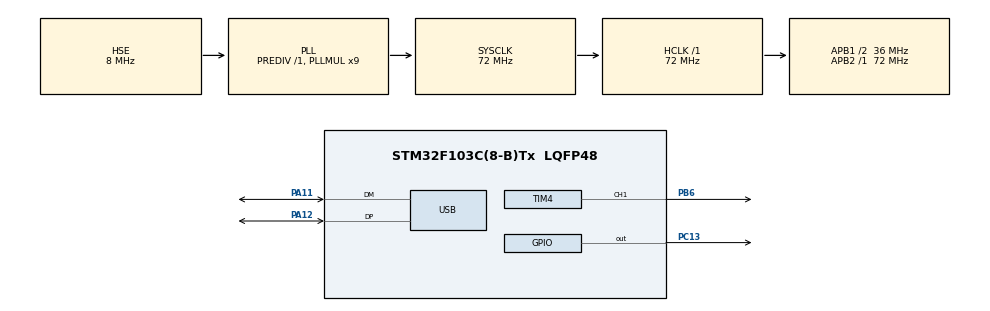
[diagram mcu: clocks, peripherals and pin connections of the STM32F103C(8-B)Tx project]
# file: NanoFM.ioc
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Dma.Request0=TIM2_UP
Dma.TIM2_UP.0.Direction=DMA_MEMORY_TO_PERIPH
Dma.TIM2_UP.0.Instance=DMA1_Channel2
Dma.TIM2_UP.0.MemDataAlignment=DMA_MDATAALIGN_HALFWORD
Dma.TIM2_UP.0.MemInc=DMA_MINC_ENABLE
Dma.TIM2_UP.0.Mode=DMA_CIRCULAR
Dma.TIM2_UP.0.PeriphDataAlignment=DMA_PDATAALIGN_HALFWORD
Dma.TIM2_UP.0.PeriphInc=DMA_PINC_DISABLE
Dma.TIM2_UP.0.Priority=DMA_PRIORITY_HIGH
Mcu.Family=STM32F1
Mcu.Name=STM32F103C(8-B)Tx
Mcu.Package=LQFP48
NVIC.DMA1_Channel2_IRQn=true\:7\:0\:true\:false\:true\:false\:true\:true
NVIC.PriorityGroup=NVIC_PRIORITYGROUP_4
NVIC.USB_HP_CAN1_TX_IRQn=true\:6\:0\:true\:false\:true\:true\:true\:true
NVIC.USB_LP_CAN1_RX0_IRQn=true\:6\:0\:true\:false\:true\:true\:true\:true
PA11.Mode=Device
PA11.Signal=USB_DM
PA12.Mode=Device
PA12.Signal=USB_DP
PA13.Mode=Serial_Wire
PA13.Signal=SYS_JTMS-SWDIO
PA14.Mode=Serial_Wire
PA14.Signal=SYS_JTCK-SWCLK
PB6.Signal=S_TIM4_CH1
PC13-TAMPER-RTC.PinState=GPIO_PIN_RESET
PC13-TAMPER-RTC.Signal=GPIO_Output
PD0-OSC_IN.Mode=HSE-External-Oscillator
PD0-OSC_IN.Signal=RCC_OSC_IN
PD1-OSC_OUT.Mode=HSE-External-Oscillator
PD1-OSC_OUT.Signal=RCC_OSC_OUT
ProjectManager.HeapSize=0x200
ProjectManager.StackSize=0x400
ProjectManager.TargetToolchain=CMake
RCC.AHBFreq_Value=72000000
RCC.APB1CLKDivider=RCC_HCLK_DIV2
RCC.APB1Freq_Value=36000000
RCC.APB1TimFreq_Value=72000000
RCC.APB2Freq_Value=72000000
RCC.APB2TimFreq_Value=72000000
RCC.HCLKFreq_Value=72000000
RCC.PLLMUL=RCC_PLL_MUL9
RCC.SYSCLKFreq_VALUE=72000000
RCC.SYSCLKSource=RCC_SYSCLKSOURCE_PLLCLK
RCC.USBFreq_Value=48000000
RCC.USBPrescaler=RCC_USBCLKSOURCE_PLL_DIV1_5
SH.S_TIM4_CH1.0=TIM4_CH1,PWM Generation1 CH1
TIM2.Period=1799
TIM4.AutoReloadPreload=TIM_AUTORELOAD_PRELOAD_ENABLE
TIM4.Channel-PWM\ Generation1\ CH1=TIM_CHANNEL_1
TIM4.Period=1023
TIM4.Pulse-PWM\ Generation1\ CH1=512
VP_TIM2_VS_ClockSourceINT.Mode=Internal
VP_TIM4_VS_ClockSourceINT.Mode=Internal
board=custom

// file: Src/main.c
/* USER CODE BEGIN Header */
/**
  ******************************************************************************
  * @file           : main.c
  * @brief          : Main program body
  ******************************************************************************
  * @attention
  *
  * Copyright (c) 2026 STMicroelectronics.
  * All rights reserved.
  *
  * This software is licensed under terms that can be found in the LICENSE file
  * in the root directory of this software component.
  * If no LICENSE file comes with this software, it is provided AS-IS.
  *
  ******************************************************************************
  */
/* USER CODE END Header */
#include "main.h"

/* USER CODE BEGIN Includes */
#include "FreeRTOS.h"
#include "task.h"

#include "tusb.h"

#include "app_main.h"
/* USER CODE END Includes */

TIM_HandleTypeDef htim2;
TIM_HandleTypeDef htim4;
DMA_HandleTypeDef hdma_tim2_up;

void SystemClock_Config(void);
static void MX_GPIO_Init(void);
static void MX_DMA_Init(void);
static void MX_TIM2_Init(void);
static void MX_TIM4_Init(void);

/* USER CODE BEGIN 0 */
static void reset_usb_pin() {
  GPIOA->CRH &= 0xFFF00FFF;
  GPIOA->CRH |= 0x00033000;
  GPIOA->ODR |= 0 << 11;
  GPIOA->ODR |= 0 << 12;
}

static void usb_task(void *)
{
  reset_usb_pin();
  vTaskDelay(1);
  if (!tusb_init()) {
    for (;;) {
      vTaskDelay(pdMS_TO_TICKS(1000));
    }
  }
  for (;;) {
    tud_task();
  }
}

static void app_main_entry(void *) {
  app_main();
  vTaskDelete(NULL);
}
/* USER CODE END 0 */

int main(void)
{

  /* MCU Configuration--------------------------------------------------------*/

  /* Reset of all peripherals, Initializes the Flash interface and the Systick. */
  HAL_Init();

  /* Configure the system clock */
  SystemClock_Config();

  /* USER CODE BEGIN SysInit */
  __HAL_RCC_USB_CLK_ENABLE();
  HAL_NVIC_SetPriority(USB_HP_CAN1_TX_IRQn, 6, 0);
  HAL_NVIC_SetPriority(USB_LP_CAN1_RX0_IRQn, 6, 0);
  /* USER CODE END SysInit */

  /* Initialize all configured peripherals */
  MX_GPIO_Init();
  MX_DMA_Init();
  MX_TIM2_Init();
  MX_TIM4_Init();
  /* USER CODE BEGIN 2 */
  xTaskCreate(usb_task, "usb", 256, NULL, configMAX_PRIORITIES - 1, NULL);
  xTaskCreate(app_main_entry, "app_main", 128, NULL, tskIDLE_PRIORITY + 1, NULL);
  vTaskStartScheduler();
  /* USER CODE END 2 */

  /* Infinite loop */
  while (1)
  {

  }
}

void SystemClock_Config(void)
{
  RCC_OscInitTypeDef RCC_OscInitStruct = {0};
  RCC_ClkInitTypeDef RCC_ClkInitStruct = {0};
  RCC_PeriphCLKInitTypeDef PeriphClkInit = {0};

  /** Initializes the RCC Oscillators according to the specified parameters
  * in the RCC_OscInitTypeDef structure.
  */
  RCC_OscInitStruct.OscillatorType = RCC_OSCILLATORTYPE_HSE;
  RCC_OscInitStruct.HSEState = RCC_HSE_ON;
  RCC_OscInitStruct.HSEPredivValue = RCC_HSE_PREDIV_DIV1;
  RCC_OscInitStruct.HSIState = RCC_HSI_ON;
  RCC_OscInitStruct.PLL.PLLState = RCC_PLL_ON;
  RCC_OscInitStruct.PLL.PLLSource = RCC_PLLSOURCE_HSE;
  RCC_OscInitStruct.PLL.PLLMUL = RCC_PLL_MUL9;
  if (HAL_RCC_OscConfig(&RCC_OscInitStruct) != HAL_OK)
  {
    Error_Handler();
  }

  /** Initializes the CPU, AHB and APB buses clocks
  */
  RCC_ClkInitStruct.ClockType = RCC_CLOCKTYPE_HCLK|RCC_CLOCKTYPE_SYSCLK
                              |RCC_CLOCKTYPE_PCLK1|RCC_CLOCKTYPE_PCLK2;
  RCC_ClkInitStruct.SYSCLKSource = RCC_SYSCLKSOURCE_PLLCLK;
  RCC_ClkInitStruct.AHBCLKDivider = RCC_SYSCLK_DIV1;
  RCC_ClkInitStruct.APB1CLKDivider = RCC_HCLK_DIV2;
  RCC_ClkInitStruct.APB2CLKDivider = RCC_HCLK_DIV1;

  if (HAL_RCC_ClockConfig(&RCC_ClkInitStruct, FLASH_LATENCY_2) != HAL_OK)
  {
    Error_Handler();
  }
  PeriphClkInit.PeriphClockSelection = RCC_PERIPHCLK_USB;
  PeriphClkInit.UsbClockSelection = RCC_USBCLKSOURCE_PLL_DIV1_5;
  if (HAL_RCCEx_PeriphCLKConfig(&PeriphClkInit) != HAL_OK)
  {
    Error_Handler();
  }
}

static void MX_TIM2_Init(void)
{

  TIM_ClockConfigTypeDef sClockSourceConfig = {0};
  TIM_MasterConfigTypeDef sMasterConfig = {0};

  htim2.Instance = TIM2;
  htim2.Init.Prescaler = 0;
  htim2.Init.CounterMode = TIM_COUNTERMODE_UP;
  htim2.Init.Period = 1799;
  htim2.Init.ClockDivision = TIM_CLOCKDIVISION_DIV1;
  htim2.Init.AutoReloadPreload = TIM_AUTORELOAD_PRELOAD_DISABLE;
  if (HAL_TIM_Base_Init(&htim2) != HAL_OK)
  {
    Error_Handler();
  }
  sClockSourceConfig.ClockSource = TIM_CLOCKSOURCE_INTERNAL;
  if (HAL_TIM_ConfigClockSource(&htim2, &sClockSourceConfig) != HAL_OK)
  {
    Error_Handler();
  }
  sMasterConfig.MasterOutputTrigger = TIM_TRGO_RESET;
  sMasterConfig.MasterSlaveMode = TIM_MASTERSLAVEMODE_DISABLE;
  if (HAL_TIMEx_MasterConfigSynchronization(&htim2, &sMasterConfig) != HAL_OK)
  {
    Error_Handler();
  }

}

static void MX_TIM4_Init(void)
{

  TIM_ClockConfigTypeDef sClockSourceConfig = {0};
  TIM_MasterConfigTypeDef sMasterConfig = {0};
  TIM_OC_InitTypeDef sConfigOC = {0};

  htim4.Instance = TIM4;
  htim4.Init.Prescaler = 0;
  htim4.Init.CounterMode = TIM_COUNTERMODE_UP;
  htim4.Init.Period = 1023;
  htim4.Init.ClockDivision = TIM_CLOCKDIVISION_DIV1;
  htim4.Init.AutoReloadPreload = TIM_AUTORELOAD_PRELOAD_ENABLE;
  if (HAL_TIM_Base_Init(&htim4) != HAL_OK)
  {
    Error_Handler();
  }
  sClockSourceConfig.ClockSource = TIM_CLOCKSOURCE_INTERNAL;
  if (HAL_TIM_ConfigClockSource(&htim4, &sClockSourceConfig) != HAL_OK)
  {
    Error_Handler();
  }
  if (HAL_TIM_PWM_Init(&htim4) != HAL_OK)
  {
    Error_Handler();
  }
  sMasterConfig.MasterOutputTrigger = TIM_TRGO_RESET;
  sMasterConfig.MasterSlaveMode = TIM_MASTERSLAVEMODE_DISABLE;
  if (HAL_TIMEx_MasterConfigSynchronization(&htim4, &sMasterConfig) != HAL_OK)
  {
    Error_Handler();
  }
  sConfigOC.OCMode = TIM_OCMODE_PWM1;
  sConfigOC.Pulse = 512;
  sConfigOC.OCPolarity = TIM_OCPOLARITY_HIGH;
  sConfigOC.OCFastMode = TIM_OCFAST_DISABLE;
  if (HAL_TIM_PWM_ConfigChannel(&htim4, &sConfigOC, TIM_CHANNEL_1) != HAL_OK)
  {
    Error_Handler();
  }
  HAL_TIM_MspPostInit(&htim4);

}

static void MX_DMA_Init(void)
{

  /* DMA controller clock enable */
  __HAL_RCC_DMA1_CLK_ENABLE();

  /* DMA interrupt init */
  /* DMA1_Channel2_IRQn interrupt configuration */
  HAL_NVIC_SetPriority(DMA1_Channel2_IRQn, 7, 0);
  HAL_NVIC_EnableIRQ(DMA1_Channel2_IRQn);

}

static void MX_GPIO_Init(void)
{
  GPIO_InitTypeDef GPIO_InitStruct = {0};

  /* GPIO Ports Clock Enable */
  __HAL_RCC_GPIOC_CLK_ENABLE();
  __HAL_RCC_GPIOD_CLK_ENABLE();
  __HAL_RCC_GPIOA_CLK_ENABLE();
  __HAL_RCC_GPIOB_CLK_ENABLE();

  /*Configure GPIO pin Output Level */
  HAL_GPIO_WritePin(GPIOC, GPIO_PIN_13, GPIO_PIN_RESET);

  /*Configure GPIO pin : PC13 */
  GPIO_InitStruct.Pin = GPIO_PIN_13;
  GPIO_InitStruct.Mode = GPIO_MODE_OUTPUT_PP;
  GPIO_InitStruct.Pull = GPIO_NOPULL;
  GPIO_InitStruct.Speed = GPIO_SPEED_FREQ_LOW;
  HAL_GPIO_Init(GPIOC, &GPIO_InitStruct);

}

void Error_Handler(void)
{
  __disable_irq();
  while (1)
  {
  }
}
